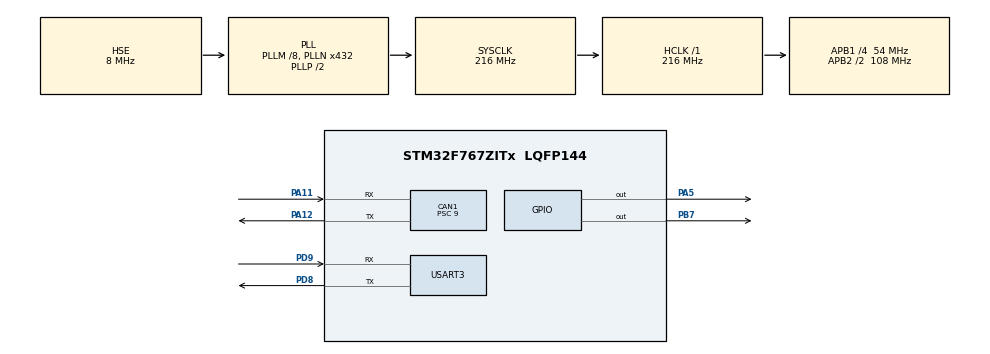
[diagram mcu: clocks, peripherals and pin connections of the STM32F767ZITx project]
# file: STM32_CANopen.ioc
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CAN1.BS1=CAN_BS1_10TQ
CAN1.BS2=CAN_BS2_1TQ
CAN1.CalculateBaudRate=499999
CAN1.CalculateTimeBit=2000
CAN1.CalculateTimeQuantum=166.66666666666669
CAN1.Prescaler=9
CORTEX_M7.default_mode_Activation=1
Dma.Request0=USART3_RX
Dma.Request1=USART3_TX
Dma.USART3_RX.0.Direction=DMA_PERIPH_TO_MEMORY
Dma.USART3_RX.0.FIFOMode=DMA_FIFOMODE_DISABLE
Dma.USART3_RX.0.Instance=DMA1_Stream1
Dma.USART3_RX.0.MemDataAlignment=DMA_MDATAALIGN_BYTE
Dma.USART3_RX.0.MemInc=DMA_MINC_ENABLE
Dma.USART3_RX.0.Mode=DMA_NORMAL
Dma.USART3_RX.0.PeriphDataAlignment=DMA_PDATAALIGN_BYTE
Dma.USART3_RX.0.PeriphInc=DMA_PINC_DISABLE
Dma.USART3_RX.0.Priority=DMA_PRIORITY_VERY_HIGH
Dma.USART3_TX.1.Direction=DMA_MEMORY_TO_PERIPH
Dma.USART3_TX.1.FIFOMode=DMA_FIFOMODE_DISABLE
Dma.USART3_TX.1.Instance=DMA1_Stream3
Dma.USART3_TX.1.MemDataAlignment=DMA_MDATAALIGN_BYTE
Dma.USART3_TX.1.MemInc=DMA_MINC_ENABLE
Dma.USART3_TX.1.Mode=DMA_NORMAL
Dma.USART3_TX.1.PeriphDataAlignment=DMA_PDATAALIGN_BYTE
Dma.USART3_TX.1.PeriphInc=DMA_PINC_DISABLE
Dma.USART3_TX.1.Priority=DMA_PRIORITY_VERY_HIGH
FREERTOS.Tasks01=defaultTask,24,128,StartDefaultTask,Default,NULL,Dynamic,NULL,NULL
FREERTOS.configUSE_NEWLIB_REENTRANT=0
Mcu.Family=STM32F7
Mcu.Name=STM32F767ZITx
Mcu.Package=LQFP144
NVIC.CAN1_RX0_IRQn=true\:5\:0\:false\:false\:true\:true\:true\:true\:true
NVIC.DMA1_Stream1_IRQn=true\:5\:0\:false\:false\:true\:true\:false\:true\:true
NVIC.DMA1_Stream3_IRQn=true\:5\:0\:false\:false\:true\:true\:false\:true\:true
NVIC.PriorityGroup=NVIC_PRIORITYGROUP_4
NVIC.TIM1_UP_TIM10_IRQn=true\:15\:0\:false\:false\:true\:false\:false\:true\:true
NVIC.TimeBase=TIM1_UP_TIM10_IRQn
NVIC.TimeBaseIP=TIM1
PA11.GPIO_PuPd=GPIO_PULLUP
PA11.Mode=CAN_Activate
PA11.Signal=CAN1_RX
PA12.Mode=CAN_Activate
PA12.Signal=CAN1_TX
PA13.Mode=Serial_Wire
PA13.Signal=SYS_JTMS-SWDIO
PA14.Mode=Serial_Wire
PA14.Signal=SYS_JTCK-SWCLK
PA5.GPIO_ModeDefaultOutputPP=GPIO_MODE_OUTPUT_PP
PA5.Signal=GPIO_Output
PB7.Signal=GPIO_Output
PD8.Mode=Asynchronous
PD8.Signal=USART3_TX
PD9.Mode=Asynchronous
PD9.Signal=USART3_RX
PH0/OSC_IN.Mode=HSE-External-Oscillator
PH0/OSC_IN.Signal=RCC_OSC_IN
PH1/OSC_OUT.Mode=HSE-External-Oscillator
PH1/OSC_OUT.Signal=RCC_OSC_OUT
ProjectManager.HeapSize=0x200
ProjectManager.StackSize=0x400
ProjectManager.TargetToolchain=STM32CubeIDE
RCC.AHBFreq_Value=216000000
RCC.APB1CLKDivider=RCC_HCLK_DIV4
RCC.APB1Freq_Value=54000000
RCC.APB1TimFreq_Value=108000000
RCC.APB2CLKDivider=RCC_HCLK_DIV2
RCC.APB2Freq_Value=108000000
RCC.APB2TimFreq_Value=216000000
RCC.CortexFreq_Value=216000000
RCC.HCLKFreq_Value=216000000
RCC.HSE_VALUE=8000000
RCC.HSI_VALUE=16000000
RCC.LSE_VALUE=32768
RCC.PLLM=8
RCC.PLLN=432
RCC.PLLSourceVirtual=RCC_PLLSOURCE_HSE
RCC.SYSCLKFreq_VALUE=216000000
RCC.SYSCLKSource=RCC_SYSCLKSOURCE_PLLCLK
RCC.USBFreq_Value=216000000
RCC.VCOOutputFreq_Value=432000000
USART3.AutoBaudRateEnableParam=UART_ADVFEATURE_AUTOBAUDRATE_DISABLE
USART3.VirtualMode-Asynchronous=VM_ASYNC
VP_FREERTOS_VS_CMSIS_V2.Mode=CMSIS_V2
VP_SYS_VS_tim1.Mode=TIM1
board=custom

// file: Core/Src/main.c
/* USER CODE BEGIN Header */
/**
  ******************************************************************************
  * @file           : main.c
  * @brief          : Main program body
  ******************************************************************************
  * @attention
  *
  * Copyright (c) 2025 STMicroelectronics.
  * All rights reserved.
  *
  * This software is licensed under terms that can be found in the LICENSE file
  * in the root directory of this software component.
  * If no LICENSE file comes with this software, it is provided AS-IS.
  *
  ******************************************************************************
  */
/* USER CODE END Header */
#include "main.h"
#include "cmsis_os.h"
#include "can.h"
#include "dma.h"
#include "usart.h"
#include "gpio.h"

/* USER CODE BEGIN Includes */
#include <stdio.h>
/* USER CODE END Includes */

void SystemClock_Config(void);
static void MPU_Config(void);
void MX_FREERTOS_Init(void);

int main(void)
{

  /* MPU Configuration--------------------------------------------------------*/
  MPU_Config();

  /* MCU Configuration--------------------------------------------------------*/

  /* Reset of all peripherals, Initializes the Flash interface and the Systick. */
  HAL_Init();

  /* Configure the system clock */
  SystemClock_Config();

  /* Initialize all configured peripherals */
  MX_GPIO_Init();
  MX_DMA_Init();
  MX_CAN1_Init();
  MX_USART3_UART_Init();
  /* USER CODE BEGIN 2 */

  HAL_CAN_Start(&hcan1);

  /* USER CODE END 2 */

  /* Init scheduler */
  osKernelInitialize();

  /* Call init function for freertos objects (in cmsis_os2.c) */
  MX_FREERTOS_Init();

  /* Start scheduler */
  osKernelStart();

  /* We should never get here as control is now taken by the scheduler */

  /* Infinite loop */
  while (1)
  {

    /* USER CODE BEGIN 3 */

	  printf("\r\nERRORE\r\n");
	  printf("\r\nMancato ingresso nel main task\r\n");
	  fflush(stdout);
	  HAL_Delay(300);

  }
  /* USER CODE END 3 */
}

void SystemClock_Config(void)
{
  RCC_OscInitTypeDef RCC_OscInitStruct = {0};
  RCC_ClkInitTypeDef RCC_ClkInitStruct = {0};

  /** Configure the main internal regulator output voltage
  */
  __HAL_RCC_PWR_CLK_ENABLE();
  __HAL_PWR_VOLTAGESCALING_CONFIG(PWR_REGULATOR_VOLTAGE_SCALE1);

  /** Initializes the RCC Oscillators according to the specified parameters
  * in the RCC_OscInitTypeDef structure.
  */
  RCC_OscInitStruct.OscillatorType = RCC_OSCILLATORTYPE_HSE;
  RCC_OscInitStruct.HSEState = RCC_HSE_ON;
  RCC_OscInitStruct.PLL.PLLState = RCC_PLL_ON;
  RCC_OscInitStruct.PLL.PLLSource = RCC_PLLSOURCE_HSE;
  RCC_OscInitStruct.PLL.PLLM = 8;
  RCC_OscInitStruct.PLL.PLLN = 432;
  RCC_OscInitStruct.PLL.PLLP = RCC_PLLP_DIV2;
  RCC_OscInitStruct.PLL.PLLQ = 2;
  RCC_OscInitStruct.PLL.PLLR = 2;
  if (HAL_RCC_OscConfig(&RCC_OscInitStruct) != HAL_OK)
  {
    Error_Handler();
  }

  /** Activate the Over-Drive mode
  */
  if (HAL_PWREx_EnableOverDrive() != HAL_OK)
  {
    Error_Handler();
  }

  /** Initializes the CPU, AHB and APB buses clocks
  */
  RCC_ClkInitStruct.ClockType = RCC_CLOCKTYPE_HCLK|RCC_CLOCKTYPE_SYSCLK
                              |RCC_CLOCKTYPE_PCLK1|RCC_CLOCKTYPE_PCLK2;
  RCC_ClkInitStruct.SYSCLKSource = RCC_SYSCLKSOURCE_PLLCLK;
  RCC_ClkInitStruct.AHBCLKDivider = RCC_SYSCLK_DIV1;
  RCC_ClkInitStruct.APB1CLKDivider = RCC_HCLK_DIV4;
  RCC_ClkInitStruct.APB2CLKDivider = RCC_HCLK_DIV2;

  if (HAL_RCC_ClockConfig(&RCC_ClkInitStruct, FLASH_LATENCY_7) != HAL_OK)
  {
    Error_Handler();
  }
}

/* USER CODE BEGIN 4 */
// Se hai callback extra (es. per i GPIO) o funzioni personalizzate, puoi metterle qui.
/* USER CODE END 4 */

 /* MPU Configuration */

void MPU_Config(void)
{
  MPU_Region_InitTypeDef MPU_InitStruct = {0};

  /* Disables the MPU */
  HAL_MPU_Disable();

  /** Initializes and configures the Region and the memory to be protected
  */
  MPU_InitStruct.Enable = MPU_REGION_ENABLE;
  MPU_InitStruct.Number = MPU_REGION_NUMBER0;
  MPU_InitStruct.BaseAddress = 0x0;
  MPU_InitStruct.Size = MPU_REGION_SIZE_4GB;
  MPU_InitStruct.SubRegionDisable = 0x87;
  MPU_InitStruct.TypeExtField = MPU_TEX_LEVEL0;
  MPU_InitStruct.AccessPermission = MPU_REGION_NO_ACCESS;
  MPU_InitStruct.DisableExec = MPU_INSTRUCTION_ACCESS_DISABLE;
  MPU_InitStruct.IsShareable = MPU_ACCESS_SHAREABLE;
  MPU_InitStruct.IsCacheable = MPU_ACCESS_NOT_CACHEABLE;
  MPU_InitStruct.IsBufferable = MPU_ACCESS_NOT_BUFFERABLE;

  HAL_MPU_ConfigRegion(&MPU_InitStruct);
  /* Enables the MPU */
  HAL_MPU_Enable(MPU_PRIVILEGED_DEFAULT);

}

void HAL_TIM_PeriodElapsedCallback(TIM_HandleTypeDef *htim)
{
  if (htim->Instance == TIM1) {
    HAL_IncTick();
  }
}

void Error_Handler(void)
{
  /* USER CODE BEGIN Error_Handler_Debug */
  __disable_irq();
  while (1)
  {
    // Puoi lampeggiare un LED, oppure fare debug su UART, se preferisci.
  }
  /* USER CODE END Error_Handler_Debug */
}

#ifdef  USE_FULL_ASSERT
/**
  * @brief  Reports the name of the source file and the source line number
  *         where the assert_param error has occurred.
  * @param  file: pointer to the source file name
  * @param  line: assert_param error line source number
  * @retval None
  */
void assert_failed(uint8_t *file, uint32_t line)
{
  /* USER CODE BEGIN 6 */
  // Aggiungi qui eventuale log su UART per debug dell'assert
  /* USER CODE END 6 */
}
#endif /* USE_FULL_ASSERT */

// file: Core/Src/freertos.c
/* USER CODE BEGIN Header */
/**
  ******************************************************************************
  * File Name          : freertos.c
  * Description        : Code for freertos applications
  ******************************************************************************
  * @attention
  *
  * Copyright (c) 2025
  * All rights reserved.
  *
  * This software is licensed under terms that can be found in the LICENSE file
  * in the root directory of this software component.
  * If no LICENSE file comes with this software, it is provided AS-IS.
  *
  ******************************************************************************
  */
/* USER CODE END Header */

#include "FreeRTOS.h"
#include "task.h"
#include "main.h"
#include "cmsis_os.h"

/* USER CODE BEGIN Includes */
#include "can.h"    // Per dichiarare CAN_SendFrame
#include <stdio.h>
#include <string.h>
#include <ctype.h>
#include <stdlib.h>
#include "gpio.h"
/* USER CODE END Includes */

/* USER CODE BEGIN PD */
#define CONSOLE_RX_BUFFER_SIZE 128
/* USER CODE END PD */

/* Definitions for defaultTask */
osThreadId_t defaultTaskHandle;
const osThreadAttr_t defaultTask_attributes = {
  .name = "defaultTask",
  .stack_size = 128 * 4,
  .priority = (osPriority_t) osPriorityNormal,
};

void StartDefaultTask(void *argument);

void MX_FREERTOS_Init(void); /* (MISRA C 2004 rule 8.1) */

void MX_FREERTOS_Init(void) {

  /* Create the thread(s) */
  /* creation of defaultTask */
  defaultTaskHandle = osThreadNew(StartDefaultTask, NULL, &defaultTask_attributes);

  /* USER CODE BEGIN RTOS_THREADS */

  if (defaultTaskHandle == NULL){
  	printf("Errore nella creazione del task.\r\n");
  	return;
  }
  else {
  	printf("Default task creato correttamente.\r\n");
  }

  /* USER CODE END RTOS_THREADS */

}

/* USER CODE BEGIN Header_StartDefaultTask */

void Send_Configuration_Frames();
int convertHexStringToBytes(const char *hexStr, uint8_t *outBuf, int maxBytes);
void print_Buffer_Content(uint32_t COB_identifier, uint8_t bufferData);

/**
  * @brief  Function implementing the defaultTask thread.
  * @param  argument: Not used
  * @retval None
  */
/* USER CODE END Header_StartDefaultTask */
void StartDefaultTask(void *argument)
{
  /* USER CODE BEGIN StartDefaultTask */

	  char lineID[CONSOLE_RX_BUFFER_SIZE];
	  char lineData[CONSOLE_RX_BUFFER_SIZE];
	  uint32_t cob_id = 0;
	  uint8_t dataBuf[8];
	  int dataLen = 0;

	  Send_Configuration_Frames();

	  for(;;)
	  {
	    // Reset buffer
	    memset(lineID, 0, sizeof(lineID));
	    memset(lineData, 0, sizeof(lineData));
	    dataLen = 0;
	    cob_id = 0;

	    printf("\r\n====================================================\r\n");
	    fflush(stdout);
	    printf(">>> Insert COB-ID (hex): ");
	    fflush(stdout);

	    if (scanf("%s", lineID) != 1) {
	        printf("Errore nella lettura del COB-ID\r\n");
	        continue; // o gestisci l'errore opportunamente
	    }

	    HAL_Delay(10);

	    // Convert ID from hex string
	    cob_id = (uint32_t)strtol(lineID, NULL, 16);

	    printf("\r>>> Insert data to send (hex): ");
	    fflush(stdout);

	    scanf("%s", lineData);

	    HAL_Delay(10);

	    // Convert data hex string -> bytes
	    dataLen = convertHexStringToBytes(lineData, dataBuf, 8);
	    // Returns number of bytes of string

	    print_Buffer_Content(cob_id, dataBuf);

	    // Send CAN frame
	    CAN_SendFrame_Std(cob_id, dataBuf, dataLen);

	    HAL_Delay(10);

	    printf("\r\nFrame inviato! COB-ID=0x%lX, %d bytes.\r", cob_id, dataLen);

	    fflush(stdout);

	    HAL_Delay(10);

	  }

  /* USER CODE END StartDefaultTask */
}

/* USER CODE BEGIN Application */

void Send_Configuration_Frames(){

	// Frame CAN da inviare una sola volta all'avvio
	// Servono a configurare lo stato della macchina a stati CANopen
	uint8_t frame1[8] = {0x2F, 0x40, 0x60, 0x00, 0x06, 0x00, 0x00, 0x00};
	uint8_t frame2[8] = {0x2F, 0x40, 0x60, 0x00, 0x07, 0x00, 0x00, 0x00};
	uint8_t frame3[8] = {0x2F, 0x40, 0x60, 0x00, 0x0F, 0x00, 0x00, 0x00};

	// Invio dei tre frame iniziali (ID 0x601, 8 byte)
	CAN_SendFrame_Std(0x601, frame1, 8);
	HAL_Delay(10); // piccola pausa per evitare sovrapposizioni
	CAN_SendFrame_Std(0x601, frame2, 8);
	HAL_Delay(10);
	CAN_SendFrame_Std(0x601, frame3, 8);
	HAL_Delay(10);

	return;

}

int convertHexStringToBytes(const char *hexStr, uint8_t *outBuf, int maxBytes) {
    int i = 0, dataLen = 0, highNibble = -1;
    while (hexStr[i] != '\0' && dataLen < maxBytes) {
        int val = -1;
        if (hexStr[i] >= '0' && hexStr[i] <= '9')
            val = hexStr[i] - '0';
        else if (hexStr[i] >= 'A' && hexStr[i] <= 'F')
            val = hexStr[i] - 'A' + 10;
        else if (hexStr[i] >= 'a' && hexStr[i] <= 'f')
            val = hexStr[i] - 'a' + 10;

        if(val >= 0) {
            if(highNibble < 0)
                highNibble = val;
            else {
                outBuf[dataLen++] = (uint8_t)((highNibble << 4) | val);
                highNibble = -1;
            }
        }
        i++;
    }
    return dataLen;
}

void print_Buffer_Content(uint32_t COB_identifier, uint8_t bufferData){

	printf("\r\nCOB-ID CONTENUTO: %lx", COB_identifier);
	printf("\r\nPAYLOAD 0 CONTENUTO: %x", bufferData[0]);
	printf("\r\nPAYLOAD 1 CONTENUTO: %x", bufferData[1]);
	printf("\r\nPAYLOAD 2 CONTENUTO: %x", bufferData[2]);
	printf("\r\nPAYLOAD 3 CONTENUTO: %x", bufferData[3]);
	printf("\r\nPAYLOAD 4 CONTENUTO: %x", bufferData[4]);
	printf("\r\nPAYLOAD 5 CONTENUTO: %x", bufferData[5]);
	printf("\r\nPAYLOAD 6 CONTENUTO: %x", bufferData[6]);
	printf("\r\nPAYLOAD 7 CONTENUTO: %x\r\n", bufferData[7]);

	return;

}

/* USER CODE END Application */
